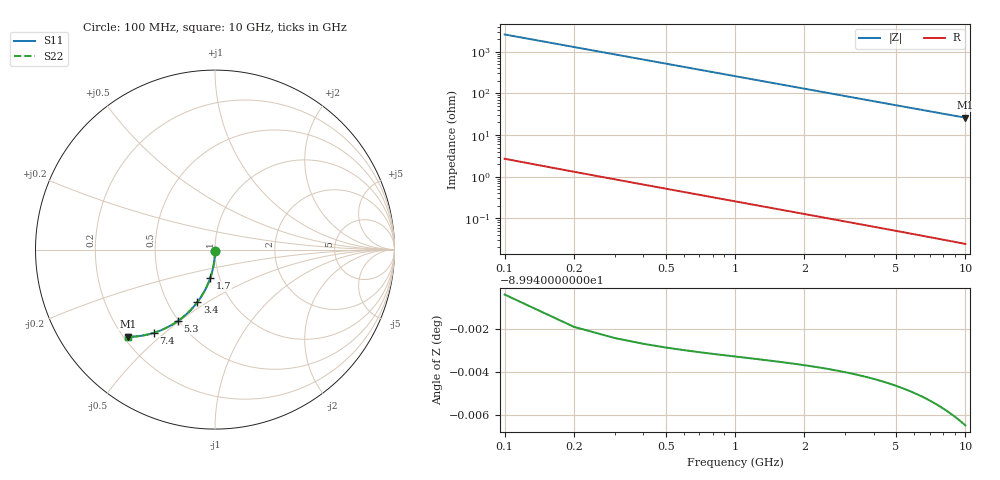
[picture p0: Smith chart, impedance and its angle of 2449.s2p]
# Hz S RI R 50.00
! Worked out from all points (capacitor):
!   100 points, 100 MHz to 10 GHz, reference 50 ohm
!   read as one part in shunt: C = 615 fF near 100 MHz
!   lowest |Z| = 26 ohm at 10 GHz (marker M1)
!   S11 on the Smith chart (normalised r, x): 100 MHz: 1.00, -0.02; 1.7 GHz: 0.90, -0.29; 3.4 GHz: 0.70, -0.45; 5.3 GHz: 0.49, -0.49; 7.4 GHz: 0.33, -0.46; 10 GHz: 0.22, -0.40
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1e8  -4.08e-05 -0.00954  0.9998 -0.0098  0.9998 -0.0098  -4.08e-05 -0.00954
2e8  -0.00033 -0.0191  0.9995 -0.0196  0.9995 -0.0196  -0.00033 -0.0191
3e8  -0.000806 -0.0286  0.9991 -0.0294  0.9991 -0.0294  -0.000806 -0.0286
4e8  -0.00147 -0.0381  0.9984 -0.0391  0.9984 -0.0391  -0.00147 -0.0381
5e8  -0.00232 -0.0476  0.9976 -0.0489  0.9976 -0.0489  -0.00232 -0.0476
6e8  -0.00335 -0.057  0.9965 -0.0586  0.9965 -0.0586  -0.00335 -0.057
8e8  -0.00596 -0.0758  0.9939 -0.0779  0.9939 -0.0779  -0.00596 -0.0758
1.1e9  -0.0112 -0.1037  0.9886 -0.1066  0.9886 -0.1066  -0.0112 -0.1037
1.4e9  -0.0181 -0.1311  0.9818 -0.1347  0.9818 -0.1347  -0.0181 -0.1311
1.7e9  -0.0264 -0.1578  0.9735 -0.1622  0.9735 -0.1622  -0.0264 -0.1578
1.8e9  -0.0295 -0.1665  0.9704 -0.1713  0.9704 -0.1713  -0.0295 -0.1665
2.1e9  -0.0397 -0.1922  0.9601 -0.1977  0.9601 -0.1977  -0.0397 -0.1922
2.5e9  -0.0554 -0.2251  0.9445 -0.2316  0.9445 -0.2316  -0.0554 -0.2251
2.9e9  -0.0731 -0.2562  0.9267 -0.2638  0.9267 -0.2638  -0.0731 -0.2562
3.4e9  -0.0978 -0.2922  0.902 -0.3012  0.902 -0.3012  -0.0978 -0.2922
4.2e9  -0.142 -0.3431  0.8578 -0.3542  0.8578 -0.3542  -0.142 -0.3431
5.1e9  -0.1963 -0.3901  0.8035 -0.4035  0.8035 -0.4035  -0.1963 -0.3901
5.3e9  -0.2087 -0.399  0.791 -0.413  0.791 -0.413  -0.2087 -0.399
6.7e9  -0.2968 -0.4476  0.7029 -0.4653  0.7029 -0.4653  -0.2968 -0.4476
7.4e9  -0.3401 -0.4635  0.6595 -0.4831  0.6595 -0.4831  -0.3401 -0.4635
8.4e9  -0.3994 -0.4782  0.6002 -0.5005  0.6002 -0.5005  -0.3994 -0.4782
1e10  -0.4858 -0.486  0.5137 -0.5126  0.5137 -0.5126  -0.4858 -0.486
